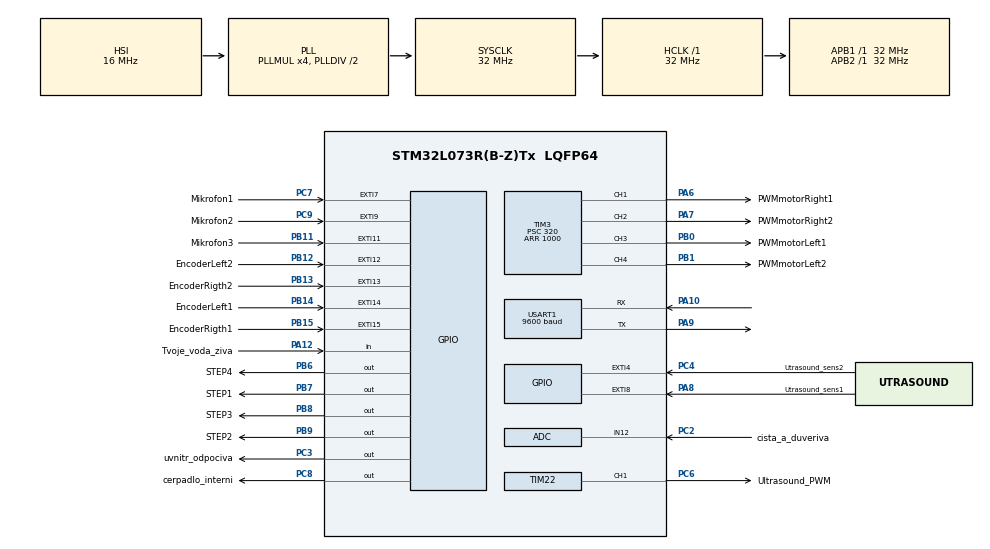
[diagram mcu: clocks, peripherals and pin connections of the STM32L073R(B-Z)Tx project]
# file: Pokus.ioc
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ADC.DMAContinuousRequests=DISABLE
ADC.EOCSelection=ADC_EOC_SEQ_CONV
ADC.Resolution=ADC_RESOLUTION_8B
ADC.SamplingTime=ADC_SAMPLETIME_1CYCLE_5
Dma.ADC.2.Direction=DMA_PERIPH_TO_MEMORY
Dma.ADC.2.Instance=DMA1_Channel1
Dma.ADC.2.MemDataAlignment=DMA_MDATAALIGN_HALFWORD
Dma.ADC.2.MemInc=DMA_MINC_ENABLE
Dma.ADC.2.Mode=DMA_CIRCULAR
Dma.ADC.2.PeriphDataAlignment=DMA_PDATAALIGN_HALFWORD
Dma.ADC.2.PeriphInc=DMA_PINC_DISABLE
Dma.ADC.2.Priority=DMA_PRIORITY_MEDIUM
Dma.Request0=USART1_TX
Dma.Request1=USART1_RX
Dma.Request2=ADC
Dma.USART1_RX.1.Direction=DMA_PERIPH_TO_MEMORY
Dma.USART1_RX.1.Instance=DMA1_Channel3
Dma.USART1_RX.1.MemDataAlignment=DMA_MDATAALIGN_BYTE
Dma.USART1_RX.1.MemInc=DMA_MINC_ENABLE
Dma.USART1_RX.1.Mode=DMA_NORMAL
Dma.USART1_RX.1.PeriphDataAlignment=DMA_PDATAALIGN_BYTE
Dma.USART1_RX.1.PeriphInc=DMA_PINC_DISABLE
Dma.USART1_RX.1.Priority=DMA_PRIORITY_LOW
Dma.USART1_TX.0.Direction=DMA_MEMORY_TO_PERIPH
Dma.USART1_TX.0.Instance=DMA1_Channel2
Dma.USART1_TX.0.MemDataAlignment=DMA_MDATAALIGN_BYTE
Dma.USART1_TX.0.MemInc=DMA_MINC_ENABLE
Dma.USART1_TX.0.Mode=DMA_NORMAL
Dma.USART1_TX.0.PeriphDataAlignment=DMA_PDATAALIGN_BYTE
Dma.USART1_TX.0.PeriphInc=DMA_PINC_DISABLE
Dma.USART1_TX.0.Priority=DMA_PRIORITY_LOW
Mcu.Family=STM32L0
Mcu.Name=STM32L073R(B-Z)Tx
Mcu.Package=LQFP64
NVIC.ADC1_COMP_IRQn=true\:0\:0\:false\:false\:true\:true
NVIC.DMA1_Channel1_IRQn=true\:0\:0\:false\:false\:true\:false
NVIC.DMA1_Channel2_3_IRQn=true\:0\:0\:false\:false\:true\:false
NVIC.EXTI4_15_IRQn=true\:0\:0\:false\:false\:true\:true
NVIC.TIM22_IRQn=true\:0\:0\:false\:false\:true\:true
NVIC.TIM3_IRQn=true\:0\:0\:false\:false\:true\:true
NVIC.TIM6_DAC_IRQn=true\:0\:0\:false\:false\:true\:true
NVIC.USART1_IRQn=true\:0\:0\:false\:false\:true\:true
PA10.Mode=Asynchronous
PA10.Signal=USART1_RX
PA12.GPIO_Label=Tvoje_voda_ziva
PA12.Signal=GPIO_Input
PA6.GPIO_Label=PWMmotorRight1
PA6.Signal=S_TIM3_CH1
PA7.GPIO_Label=PWMmotorRight2
PA7.Signal=S_TIM3_CH2
PA8.GPIO_Label=Utrasound_sens1
PA8.GPIO_ModeDefaultEXTI=GPIO_MODE_IT_RISING_FALLING
PA8.GPIO_PuPd=GPIO_NOPULL
PA8.Signal=GPXTI8
PA9.Mode=Asynchronous
PA9.Signal=USART1_TX
PB0.GPIO_Label=PWMmotorLeft1
PB0.Signal=S_TIM3_CH3
PB1.GPIO_Label=PWMmotorLeft2
PB1.Signal=S_TIM3_CH4
PB11.GPIO_Label=Mikrofon3
PB11.Signal=GPXTI11
PB12.GPIO_Label=EncoderLeft2
PB12.Signal=GPXTI12
PB13.GPIO_Label=EncoderRigth2
PB13.Signal=GPXTI13
PB14.GPIO_Label=EncoderLeft1
PB14.Signal=GPXTI14
PB15.GPIO_Label=EncoderRigth1
PB15.Signal=GPXTI15
PB6.GPIO_Label=STEP4
PB6.Signal=GPIO_Output
PB7.GPIO_Label=STEP1
PB7.Signal=GPIO_Output
PB8.GPIO_Label=STEP3
PB8.Signal=GPIO_Output
PB9.GPIO_Label=STEP2
PB9.Signal=GPIO_Output
PC14-OSC32_IN.Mode=LSE-External-Oscillator
PC14-OSC32_IN.Signal=RCC_OSC32_IN
PC15-OSC32_OUT.Mode=LSE-External-Oscillator
PC15-OSC32_OUT.Signal=RCC_OSC32_OUT
PC2.GPIO_Label=cista_a_duveriva
PC2.Mode=IN12
PC2.Signal=ADC_IN12
PC3.GPIO_Label=uvnitr_odpociva
PC3.Signal=GPIO_Output
PC4.GPIO_Label=Utrasound_sens2
PC4.GPIO_ModeDefaultEXTI=GPIO_MODE_IT_RISING_FALLING
PC4.Signal=GPXTI4
PC6.GPIO_Label=Ultrasound_PWM
PC6.Signal=S_TIM22_CH1
PC7.GPIO_Label=Mikrofon1
PC7.Signal=GPXTI7
PC8.GPIO_Label=cerpadlo_interni
PC8.Signal=GPIO_Output
PC9.GPIO_Label=Mikrofon2
PC9.Signal=GPXTI9
ProjectManager.HeapSize=0x200
ProjectManager.StackSize=0x400
ProjectManager.TargetToolchain=TrueSTUDIO
RCC.AHBFreq_Value=32000000
RCC.APB1Freq_Value=32000000
RCC.APB1TimFreq_Value=32000000
RCC.APB2Freq_Value=32000000
RCC.APB2TimFreq_Value=32000000
RCC.HCLKFreq_Value=32000000
RCC.HSE_VALUE=8000000
RCC.HSI16_VALUE=16000000
RCC.HSI48_VALUE=48000000
RCC.HSI_VALUE=16000000
RCC.MSI_VALUE=2097000
RCC.PLLMUL=RCC_PLLMUL_4
RCC.SYSCLKFreq_VALUE=32000000
RCC.SYSCLKSource=RCC_SYSCLKSOURCE_PLLCLK
RCC.VCOOutputFreq_Value=64000000
SH.S_TIM22_CH1.0=TIM22_CH1,PWM Generation1 CH1
SH.S_TIM3_CH1.0=TIM3_CH1,PWM Generation1 CH1
SH.S_TIM3_CH2.0=TIM3_CH2,PWM Generation2 CH2
SH.S_TIM3_CH3.0=TIM3_CH3,PWM Generation3 CH3
SH.S_TIM3_CH4.0=TIM3_CH4,PWM Generation4 CH4
TIM22.Channel-PWM\ Generation1\ CH1=TIM_CHANNEL_1
TIM22.Period=65000
TIM22.Prescaler=32
TIM22.Pulse-PWM\ Generation1\ CH1=10
TIM3.Channel-PWM\ Generation1\ CH1=TIM_CHANNEL_1
TIM3.Channel-PWM\ Generation2\ CH2=TIM_CHANNEL_2
TIM3.Channel-PWM\ Generation3\ CH3=TIM_CHANNEL_3
TIM3.Channel-PWM\ Generation4\ CH4=TIM_CHANNEL_4
TIM3.Period=1000
TIM3.Prescaler=320
TIM6.Period=65000
TIM6.Prescaler=320
USART1.BaudRate=9600
USART1.VirtualMode-Asynchronous=VM_ASYNC
VP_TIM22_VS_ClockSourceINT.Mode=Internal
VP_TIM2_VS_ClockSourceINT.Mode=Internal
VP_TIM3_VS_ClockSourceINT.Mode=Internal
VP_TIM6_VS_ClockSourceINT.Mode=Enable_Timer
board=custom

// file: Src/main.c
/* USER CODE BEGIN Header */
/**
  ******************************************************************************
  * @file           : main.c
  * @brief          : Main program body
  ******************************************************************************
  ** This notice applies to any and all portions of this file
  * that are not between comment pairs USER CODE BEGIN and
  * USER CODE END. Other portions of this file, whether
  * inserted by the user or by software development tools
  * are owned by their respective copyright owners.
  *
  * COPYRIGHT(c) 2019 STMicroelectronics
  *
  * Redistribution and use in source and binary forms, with or without modification,
  * are permitted provided that the following conditions are met:
  *   1. Redistributions of source code must retain the above copyright notice,
  *      this list of conditions and the following disclaimer.
  *   2. Redistributions in binary form must reproduce the above copyright notice,
  *      this list of conditions and the following disclaimer in the documentation
  *      and/or other materials provided with the distribution.
  *   3. Neither the name of STMicroelectronics nor the names of its contributors
  *      may be used to endorse or promote products derived from this software
  *      without specific prior written permission.
  *
  * THIS SOFTWARE IS PROVIDED BY THE COPYRIGHT HOLDERS AND CONTRIBUTORS "AS IS"
  * AND ANY EXPRESS OR IMPLIED WARRANTIES, INCLUDING, BUT NOT LIMITED TO, THE
  * IMPLIED WARRANTIES OF MERCHANTABILITY AND FITNESS FOR A PARTICULAR PURPOSE ARE
  * DISCLAIMED. IN NO EVENT SHALL THE COPYRIGHT HOLDER OR CONTRIBUTORS BE LIABLE
  * FOR ANY DIRECT, INDIRECT, INCIDENTAL, SPECIAL, EXEMPLARY, OR CONSEQUENTIAL
  * DAMAGES (INCLUDING, BUT NOT LIMITED TO, PROCUREMENT OF SUBSTITUTE GOODS OR
  * SERVICES; LOSS OF USE, DATA, OR PROFITS; OR BUSINESS INTERRUPTION) HOWEVER
  * CAUSED AND ON ANY THEORY OF LIABILITY, WHETHER IN CONTRACT, STRICT LIABILITY,
  * OR TORT (INCLUDING NEGLIGENCE OR OTHERWISE) ARISING IN ANY WAY OUT OF THE USE
  * OF THIS SOFTWARE, EVEN IF ADVISED OF THE POSSIBILITY OF SUCH DAMAGE.
  *
  ******************************************************************************
  */
/* USER CODE END Header */

#include "main.h"

/* USER CODE BEGIN Includes */
#include "motorcontrol.h"
#include "Bluetooth.h"
#include "Ultrasound.h"
#include "Step_eng.h"
//#include "navigator.h"
/* USER CODE END Includes */

/* USER CODE BEGIN PM */
uint8_t cista_voda_value;
const int cista_voda = 2600;
/* USER CODE END PM */

ADC_HandleTypeDef hadc;
DMA_HandleTypeDef hdma_adc;

TIM_HandleTypeDef htim2;
TIM_HandleTypeDef htim3;
TIM_HandleTypeDef htim6;
TIM_HandleTypeDef htim22;

UART_HandleTypeDef huart1;
DMA_HandleTypeDef hdma_usart1_tx;
DMA_HandleTypeDef hdma_usart1_rx;

void SystemClock_Config(void);
static void MX_GPIO_Init(void);
static void MX_DMA_Init(void);
static void MX_TIM3_Init(void);
static void MX_USART1_UART_Init(void);
static void MX_TIM6_Init(void);
static void MX_TIM22_Init(void);
static void MX_TIM2_Init(void);
static void MX_ADC_Init(void);

int main(void)
{

  /* MCU Configuration--------------------------------------------------------*/

  /* Reset of all peripherals, Initializes the Flash interface and the Systick. */
  HAL_Init();

  /* Configure the system clock */
  SystemClock_Config();

  /* Initialize all configured peripherals */
  MX_GPIO_Init();
  MX_DMA_Init();
  MX_TIM3_Init();
  MX_USART1_UART_Init();
  MX_TIM6_Init();
  MX_TIM22_Init();
  MX_TIM2_Init();
  MX_ADC_Init();
  /* USER CODE BEGIN 2 */
  start_motor_control(&htim3);
  HAL_ADC_Start(&hadc);
  init_PID();
  init_PID_ultrazvuk();
  start_encoder();
  start_bluetooth(&huart1);
  /* USER CODE END 2 */

  /* Infinite loop */
  /* USER CODE BEGIN WHILE */
  while (1)
  {
	  HAL_ADC_Start(&hadc);
	  HAL_Delay(10);
	  cista_voda_value = HAL_ADC_GetValue(&hadc);
	  send_bluetooth(&cista_voda_value);
	  if (cista_voda_value>cista_voda){
		  HAL_GPIO_WritePin(uvnitr_odpociva_GPIO_Port,uvnitr_odpociva_Pin,GPIO_PIN_RESET);
	  }else{
		  HAL_GPIO_WritePin(uvnitr_odpociva_GPIO_Port,uvnitr_odpociva_Pin,GPIO_PIN_SET);
	  }
	  HAL_Delay(1000);
    /* USER CODE END WHILE */

  }
}

void SystemClock_Config(void)
{
  RCC_OscInitTypeDef RCC_OscInitStruct = {0};
  RCC_ClkInitTypeDef RCC_ClkInitStruct = {0};
  RCC_PeriphCLKInitTypeDef PeriphClkInit = {0};

  /**Configure the main internal regulator output voltage
  */
  __HAL_PWR_VOLTAGESCALING_CONFIG(PWR_REGULATOR_VOLTAGE_SCALE1);
  /**Initializes the CPU, AHB and APB busses clocks
  */
  RCC_OscInitStruct.OscillatorType = RCC_OSCILLATORTYPE_HSI;
  RCC_OscInitStruct.HSIState = RCC_HSI_ON;
  RCC_OscInitStruct.HSICalibrationValue = RCC_HSICALIBRATION_DEFAULT;
  RCC_OscInitStruct.PLL.PLLState = RCC_PLL_ON;
  RCC_OscInitStruct.PLL.PLLSource = RCC_PLLSOURCE_HSI;
  RCC_OscInitStruct.PLL.PLLMUL = RCC_PLLMUL_4;
  RCC_OscInitStruct.PLL.PLLDIV = RCC_PLLDIV_2;
  if (HAL_RCC_OscConfig(&RCC_OscInitStruct) != HAL_OK)
  {
    Error_Handler();
  }
  /**Initializes the CPU, AHB and APB busses clocks
  */
  RCC_ClkInitStruct.ClockType = RCC_CLOCKTYPE_HCLK|RCC_CLOCKTYPE_SYSCLK
                              |RCC_CLOCKTYPE_PCLK1|RCC_CLOCKTYPE_PCLK2;
  RCC_ClkInitStruct.SYSCLKSource = RCC_SYSCLKSOURCE_PLLCLK;
  RCC_ClkInitStruct.AHBCLKDivider = RCC_SYSCLK_DIV1;
  RCC_ClkInitStruct.APB1CLKDivider = RCC_HCLK_DIV1;
  RCC_ClkInitStruct.APB2CLKDivider = RCC_HCLK_DIV1;

  if (HAL_RCC_ClockConfig(&RCC_ClkInitStruct, FLASH_LATENCY_1) != HAL_OK)
  {
    Error_Handler();
  }
  PeriphClkInit.PeriphClockSelection = RCC_PERIPHCLK_USART1;
  PeriphClkInit.Usart1ClockSelection = RCC_USART1CLKSOURCE_PCLK2;
  if (HAL_RCCEx_PeriphCLKConfig(&PeriphClkInit) != HAL_OK)
  {
    Error_Handler();
  }
}

static void MX_ADC_Init(void)
{

  ADC_ChannelConfTypeDef sConfig = {0};

  /**Configure the global features of the ADC (Clock, Resolution, Data Alignment and number of conversion)
  */
  hadc.Instance = ADC1;
  hadc.Init.OversamplingMode = DISABLE;
  hadc.Init.ClockPrescaler = ADC_CLOCK_SYNC_PCLK_DIV2;
  hadc.Init.Resolution = ADC_RESOLUTION_8B;
  hadc.Init.SamplingTime = ADC_SAMPLETIME_1CYCLE_5;
  hadc.Init.ScanConvMode = ADC_SCAN_DIRECTION_FORWARD;
  hadc.Init.DataAlign = ADC_DATAALIGN_RIGHT;
  hadc.Init.ContinuousConvMode = DISABLE;
  hadc.Init.DiscontinuousConvMode = DISABLE;
  hadc.Init.ExternalTrigConvEdge = ADC_EXTERNALTRIGCONVEDGE_NONE;
  hadc.Init.ExternalTrigConv = ADC_SOFTWARE_START;
  hadc.Init.DMAContinuousRequests = DISABLE;
  hadc.Init.EOCSelection = ADC_EOC_SEQ_CONV;
  hadc.Init.Overrun = ADC_OVR_DATA_PRESERVED;
  hadc.Init.LowPowerAutoWait = DISABLE;
  hadc.Init.LowPowerFrequencyMode = DISABLE;
  hadc.Init.LowPowerAutoPowerOff = DISABLE;
  if (HAL_ADC_Init(&hadc) != HAL_OK)
  {
    Error_Handler();
  }
  /**Configure for the selected ADC regular channel to be converted.
  */
  sConfig.Channel = ADC_CHANNEL_12;
  sConfig.Rank = ADC_RANK_CHANNEL_NUMBER;
  if (HAL_ADC_ConfigChannel(&hadc, &sConfig) != HAL_OK)
  {
    Error_Handler();
  }

}

static void MX_TIM2_Init(void)
{

  TIM_ClockConfigTypeDef sClockSourceConfig = {0};
  TIM_MasterConfigTypeDef sMasterConfig = {0};

  htim2.Instance = TIM2;
  htim2.Init.Prescaler = 0;
  htim2.Init.CounterMode = TIM_COUNTERMODE_UP;
  htim2.Init.Period = 0;
  htim2.Init.ClockDivision = TIM_CLOCKDIVISION_DIV1;
  htim2.Init.AutoReloadPreload = TIM_AUTORELOAD_PRELOAD_DISABLE;
  if (HAL_TIM_Base_Init(&htim2) != HAL_OK)
  {
    Error_Handler();
  }
  sClockSourceConfig.ClockSource = TIM_CLOCKSOURCE_INTERNAL;
  if (HAL_TIM_ConfigClockSource(&htim2, &sClockSourceConfig) != HAL_OK)
  {
    Error_Handler();
  }
  sMasterConfig.MasterOutputTrigger = TIM_TRGO_RESET;
  sMasterConfig.MasterSlaveMode = TIM_MASTERSLAVEMODE_DISABLE;
  if (HAL_TIMEx_MasterConfigSynchronization(&htim2, &sMasterConfig) != HAL_OK)
  {
    Error_Handler();
  }

}

static void MX_TIM3_Init(void)
{

  TIM_ClockConfigTypeDef sClockSourceConfig = {0};
  TIM_MasterConfigTypeDef sMasterConfig = {0};
  TIM_OC_InitTypeDef sConfigOC = {0};

  htim3.Instance = TIM3;
  htim3.Init.Prescaler = 320;
  htim3.Init.CounterMode = TIM_COUNTERMODE_UP;
  htim3.Init.Period = 1000;
  htim3.Init.ClockDivision = TIM_CLOCKDIVISION_DIV1;
  htim3.Init.AutoReloadPreload = TIM_AUTORELOAD_PRELOAD_DISABLE;
  if (HAL_TIM_Base_Init(&htim3) != HAL_OK)
  {
    Error_Handler();
  }
  sClockSourceConfig.ClockSource = TIM_CLOCKSOURCE_INTERNAL;
  if (HAL_TIM_ConfigClockSource(&htim3, &sClockSourceConfig) != HAL_OK)
  {
    Error_Handler();
  }
  if (HAL_TIM_PWM_Init(&htim3) != HAL_OK)
  {
    Error_Handler();
  }
  sMasterConfig.MasterOutputTrigger = TIM_TRGO_RESET;
  sMasterConfig.MasterSlaveMode = TIM_MASTERSLAVEMODE_DISABLE;
  if (HAL_TIMEx_MasterConfigSynchronization(&htim3, &sMasterConfig) != HAL_OK)
  {
    Error_Handler();
  }
  sConfigOC.OCMode = TIM_OCMODE_PWM1;
  sConfigOC.Pulse = 0;
  sConfigOC.OCPolarity = TIM_OCPOLARITY_HIGH;
  sConfigOC.OCFastMode = TIM_OCFAST_DISABLE;
  if (HAL_TIM_PWM_ConfigChannel(&htim3, &sConfigOC, TIM_CHANNEL_1) != HAL_OK)
  {
    Error_Handler();
  }
  if (HAL_TIMEx_RemapConfig(&htim3, TIM3_TI1_GPIO) != HAL_OK)
  {
    Error_Handler();
  }
  if (HAL_TIM_PWM_ConfigChannel(&htim3, &sConfigOC, TIM_CHANNEL_2) != HAL_OK)
  {
    Error_Handler();
  }
  if (HAL_TIM_PWM_ConfigChannel(&htim3, &sConfigOC, TIM_CHANNEL_3) != HAL_OK)
  {
    Error_Handler();
  }
  if (HAL_TIM_PWM_ConfigChannel(&htim3, &sConfigOC, TIM_CHANNEL_4) != HAL_OK)
  {
    Error_Handler();
  }
  HAL_TIM_MspPostInit(&htim3);

}

static void MX_TIM6_Init(void)
{

  TIM_MasterConfigTypeDef sMasterConfig = {0};

  htim6.Instance = TIM6;
  htim6.Init.Prescaler = 320;
  htim6.Init.CounterMode = TIM_COUNTERMODE_UP;
  htim6.Init.Period = 65000;
  htim6.Init.AutoReloadPreload = TIM_AUTORELOAD_PRELOAD_DISABLE;
  if (HAL_TIM_Base_Init(&htim6) != HAL_OK)
  {
    Error_Handler();
  }
  sMasterConfig.MasterOutputTrigger = TIM_TRGO_RESET;
  sMasterConfig.MasterSlaveMode = TIM_MASTERSLAVEMODE_DISABLE;
  if (HAL_TIMEx_MasterConfigSynchronization(&htim6, &sMasterConfig) != HAL_OK)
  {
    Error_Handler();
  }

}

static void MX_TIM22_Init(void)
{

  TIM_ClockConfigTypeDef sClockSourceConfig = {0};
  TIM_MasterConfigTypeDef sMasterConfig = {0};
  TIM_OC_InitTypeDef sConfigOC = {0};

  htim22.Instance = TIM22;
  htim22.Init.Prescaler = 32;
  htim22.Init.CounterMode = TIM_COUNTERMODE_UP;
  htim22.Init.Period = 65000;
  htim22.Init.ClockDivision = TIM_CLOCKDIVISION_DIV1;
  htim22.Init.AutoReloadPreload = TIM_AUTORELOAD_PRELOAD_DISABLE;
  if (HAL_TIM_Base_Init(&htim22) != HAL_OK)
  {
    Error_Handler();
  }
  sClockSourceConfig.ClockSource = TIM_CLOCKSOURCE_INTERNAL;
  if (HAL_TIM_ConfigClockSource(&htim22, &sClockSourceConfig) != HAL_OK)
  {
    Error_Handler();
  }
  if (HAL_TIM_PWM_Init(&htim22) != HAL_OK)
  {
    Error_Handler();
  }
  sMasterConfig.MasterOutputTrigger = TIM_TRGO_RESET;
  sMasterConfig.MasterSlaveMode = TIM_MASTERSLAVEMODE_DISABLE;
  if (HAL_TIMEx_MasterConfigSynchronization(&htim22, &sMasterConfig) != HAL_OK)
  {
    Error_Handler();
  }
  sConfigOC.OCMode = TIM_OCMODE_PWM1;
  sConfigOC.Pulse = 10;
  sConfigOC.OCPolarity = TIM_OCPOLARITY_HIGH;
  sConfigOC.OCFastMode = TIM_OCFAST_DISABLE;
  if (HAL_TIM_PWM_ConfigChannel(&htim22, &sConfigOC, TIM_CHANNEL_1) != HAL_OK)
  {
    Error_Handler();
  }
  if (HAL_TIMEx_RemapConfig(&htim22, TIM3_TI1_GPIO) != HAL_OK)
  {
    Error_Handler();
  }
  HAL_TIM_MspPostInit(&htim22);

}

static void MX_USART1_UART_Init(void)
{

  huart1.Instance = USART1;
  huart1.Init.BaudRate = 9600;
  huart1.Init.WordLength = UART_WORDLENGTH_8B;
  huart1.Init.StopBits = UART_STOPBITS_1;
  huart1.Init.Parity = UART_PARITY_NONE;
  huart1.Init.Mode = UART_MODE_TX_RX;
  huart1.Init.HwFlowCtl = UART_HWCONTROL_NONE;
  huart1.Init.OverSampling = UART_OVERSAMPLING_16;
  huart1.Init.OneBitSampling = UART_ONE_BIT_SAMPLE_DISABLE;
  huart1.AdvancedInit.AdvFeatureInit = UART_ADVFEATURE_NO_INIT;
  if (HAL_UART_Init(&huart1) != HAL_OK)
  {
    Error_Handler();
  }

}

static void MX_DMA_Init(void)
{
  /* DMA controller clock enable */
  __HAL_RCC_DMA1_CLK_ENABLE();

  /* DMA interrupt init */
  /* DMA1_Channel1_IRQn interrupt configuration */
  HAL_NVIC_SetPriority(DMA1_Channel1_IRQn, 0, 0);
  HAL_NVIC_EnableIRQ(DMA1_Channel1_IRQn);
  /* DMA1_Channel2_3_IRQn interrupt configuration */
  HAL_NVIC_SetPriority(DMA1_Channel2_3_IRQn, 0, 0);
  HAL_NVIC_EnableIRQ(DMA1_Channel2_3_IRQn);

}

static void MX_GPIO_Init(void)
{
  GPIO_InitTypeDef GPIO_InitStruct = {0};

  /* GPIO Ports Clock Enable */
  __HAL_RCC_GPIOC_CLK_ENABLE();
  __HAL_RCC_GPIOA_CLK_ENABLE();
  __HAL_RCC_GPIOB_CLK_ENABLE();

  /*Configure GPIO pin Output Level */
  HAL_GPIO_WritePin(GPIOC, uvnitr_odpociva_Pin|cerpadlo_interni_Pin, GPIO_PIN_RESET);

  /*Configure GPIO pin Output Level */
  HAL_GPIO_WritePin(GPIOB, STEP4_Pin|STEP1_Pin|STEP3_Pin|STEP2_Pin, GPIO_PIN_RESET);

  /*Configure GPIO pins : uvnitr_odpociva_Pin cerpadlo_interni_Pin */
  GPIO_InitStruct.Pin = uvnitr_odpociva_Pin|cerpadlo_interni_Pin;
  GPIO_InitStruct.Mode = GPIO_MODE_OUTPUT_PP;
  GPIO_InitStruct.Pull = GPIO_NOPULL;
  GPIO_InitStruct.Speed = GPIO_SPEED_FREQ_LOW;
  HAL_GPIO_Init(GPIOC, &GPIO_InitStruct);

  /*Configure GPIO pin : Utrasound_sens2_Pin */
  GPIO_InitStruct.Pin = Utrasound_sens2_Pin;
  GPIO_InitStruct.Mode = GPIO_MODE_IT_RISING_FALLING;
  GPIO_InitStruct.Pull = GPIO_NOPULL;
  HAL_GPIO_Init(Utrasound_sens2_GPIO_Port, &GPIO_InitStruct);

  /*Configure GPIO pins : Mikrofon3_Pin EncoderLeft2_Pin EncoderRigth2_Pin EncoderLeft1_Pin
                           EncoderRigth1_Pin */
  GPIO_InitStruct.Pin = Mikrofon3_Pin|EncoderLeft2_Pin|EncoderRigth2_Pin|EncoderLeft1_Pin
                          |EncoderRigth1_Pin;
  GPIO_InitStruct.Mode = GPIO_MODE_IT_RISING;
  GPIO_InitStruct.Pull = GPIO_NOPULL;
  HAL_GPIO_Init(GPIOB, &GPIO_InitStruct);

  /*Configure GPIO pins : Mikrofon1_Pin Mikrofon2_Pin */
  GPIO_InitStruct.Pin = Mikrofon1_Pin|Mikrofon2_Pin;
  GPIO_InitStruct.Mode = GPIO_MODE_IT_RISING;
  GPIO_InitStruct.Pull = GPIO_NOPULL;
  HAL_GPIO_Init(GPIOC, &GPIO_InitStruct);

  /*Configure GPIO pin : Utrasound_sens1_Pin */
  GPIO_InitStruct.Pin = Utrasound_sens1_Pin;
  GPIO_InitStruct.Mode = GPIO_MODE_IT_RISING_FALLING;
  GPIO_InitStruct.Pull = GPIO_NOPULL;
  HAL_GPIO_Init(Utrasound_sens1_GPIO_Port, &GPIO_InitStruct);

  /*Configure GPIO pin : Tvoje_voda_ziva_Pin */
  GPIO_InitStruct.Pin = Tvoje_voda_ziva_Pin;
  GPIO_InitStruct.Mode = GPIO_MODE_INPUT;
  GPIO_InitStruct.Pull = GPIO_NOPULL;
  HAL_GPIO_Init(Tvoje_voda_ziva_GPIO_Port, &GPIO_InitStruct);

  /*Configure GPIO pins : STEP4_Pin STEP1_Pin STEP3_Pin STEP2_Pin */
  GPIO_InitStruct.Pin = STEP4_Pin|STEP1_Pin|STEP3_Pin|STEP2_Pin;
  GPIO_InitStruct.Mode = GPIO_MODE_OUTPUT_PP;
  GPIO_InitStruct.Pull = GPIO_NOPULL;
  GPIO_InitStruct.Speed = GPIO_SPEED_FREQ_LOW;
  HAL_GPIO_Init(GPIOB, &GPIO_InitStruct);

  /* EXTI interrupt init*/
  HAL_NVIC_SetPriority(EXTI4_15_IRQn, 0, 0);
  HAL_NVIC_EnableIRQ(EXTI4_15_IRQn);

}

void Error_Handler(void)
{
}

/************************ (C) COPYRIGHT STMicroelectronics *****END OF FILE****/
